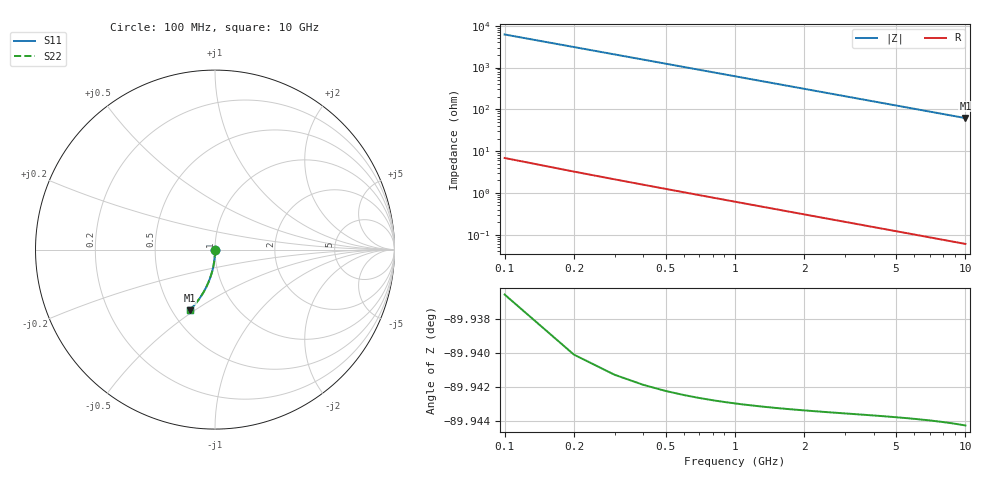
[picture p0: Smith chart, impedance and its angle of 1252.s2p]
# Hz S RI R 50.00
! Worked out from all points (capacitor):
!   100 points, 100 MHz to 10 GHz, reference 50 ohm
!   read as one part in shunt: C = 257 fF near 100 MHz
!   lowest |Z| = 61.8 ohm at 10 GHz (marker M1)
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1e8  1.69e-05 -0.00393  0.9999 -0.00414  0.9999 -0.00414  1.69e-05 -0.00393
2e8  -3.57e-05 -0.00786  0.9999 -0.00829  0.9999 -0.00829  -3.57e-05 -0.00786
3e8  -0.000121 -0.0118  0.9998 -0.0124  0.9998 -0.0124  -0.000121 -0.0118
4e8  -0.000239 -0.0157  0.9997 -0.0166  0.9997 -0.0166  -0.000239 -0.0157
5e8  -0.000389 -0.0196  0.9995 -0.0207  0.9995 -0.0207  -0.000389 -0.0196
6e8  -0.000572 -0.0236  0.9994 -0.0249  0.9994 -0.0249  -0.000572 -0.0236
7e8  -0.000788 -0.0275  0.9991 -0.029  0.9991 -0.029  -0.000788 -0.0275
8e8  -0.00104 -0.0314  0.9989 -0.0331  0.9989 -0.0331  -0.00104 -0.0314
9e8  -0.00132 -0.0353  0.9986 -0.0373  0.9986 -0.0373  -0.00132 -0.0353
1.1e9  -0.00197 -0.0432  0.9979 -0.0455  0.9979 -0.0455  -0.00197 -0.0432
1.4e9  -0.0032 -0.0549  0.9967 -0.0579  0.9967 -0.0579  -0.0032 -0.0549
1.8e9  -0.00529 -0.0704  0.9946 -0.0743  0.9946 -0.0743  -0.00529 -0.0704
2.1e9  -0.00719 -0.082  0.9927 -0.0865  0.9927 -0.0865  -0.00719 -0.082
2.5e9  -0.0102 -0.0973  0.9898 -0.1027  0.9898 -0.1027  -0.0102 -0.0973
2.9e9  -0.0136 -0.1125  0.9863 -0.1187  0.9863 -0.1187  -0.0136 -0.1125
3.4e9  -0.0186 -0.1312  0.9813 -0.1385  0.9813 -0.1385  -0.0186 -0.1312
4.2e9  -0.0281 -0.1606  0.9717 -0.1696  0.9717 -0.1696  -0.0281 -0.1606
5.1e9  -0.041 -0.1924  0.9589 -0.2034  0.9589 -0.2034  -0.041 -0.1924
5.9e9  -0.0541 -0.2196  0.9457 -0.2323  0.9457 -0.2323  -0.0541 -0.2196
6.7e9  -0.0688 -0.2455  0.931 -0.2599  0.931 -0.2599  -0.0688 -0.2455
8.4e9  -0.1042 -0.2961  0.8956 -0.3142  0.8956 -0.3142  -0.1042 -0.2961
1e10  -0.1417 -0.3376  0.858 -0.3593  0.858 -0.3593  -0.1417 -0.3376
